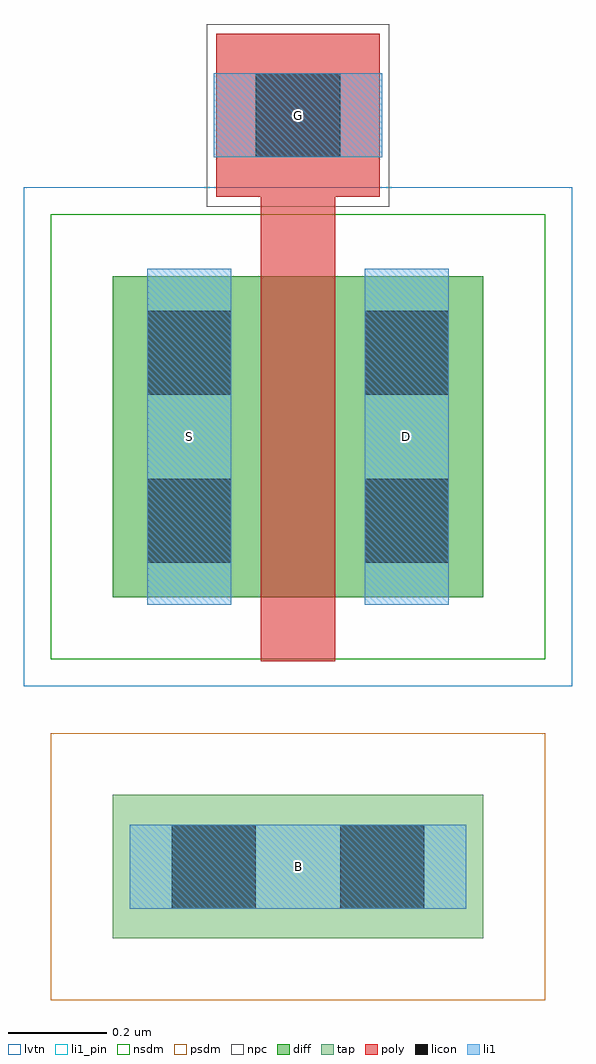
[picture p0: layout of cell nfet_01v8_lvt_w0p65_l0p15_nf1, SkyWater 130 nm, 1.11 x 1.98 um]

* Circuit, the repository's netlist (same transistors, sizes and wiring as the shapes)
.SUBCKT nfet_01v8_lvt_w0p65_l0p15_nf1 D G S B
M0 D G S B nfet_01v8_lvt w=0.65 l=0.15
.ENDS

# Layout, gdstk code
import gdstk
lib = gdstk.Library(unit=1e-6, precision=1e-09)
def R(c, l, rs):  # rectangles x0, y0, x1, y1
    for r in rs: c.add(gdstk.rectangle(r[:2], r[2:], *l))
diff = (65, 20)
tap = (65, 44)
poly = (66, 20)
licon = (66, 44)
li1_pin = (67, 16)
li1 = (67, 20)
nsdm = (93, 44)
psdm = (94, 20)
npc = (95, 20)
lvtn = (125, 44)

nfet_01v8_lvt_w0p65_l0p1 = lib.new_cell('nfet_01v8_lvt_w0p65_l0p15_nf1')
R(nfet_01v8_lvt_w0p65_l0p1, diff, [(0,0,0.75,0.65)])
R(nfet_01v8_lvt_w0p65_l0p1, tap, [(0,-0.69,0.75,-0.4)])
R(nfet_01v8_lvt_w0p65_l0p1, poly, [(0.3,-0.13,0.45,0.81), (0.21,0.81,0.54,1.14)])
R(nfet_01v8_lvt_w0p65_l0p1, licon, [(0.12,-0.63,0.29,-0.46), (0.46,-0.63,0.63,-0.46), (0.07,0.07,0.24,0.24), (0.51,0.07,0.68,0.24), (0.07,0.41,0.24,0.58), (0.51,0.41,0.68,0.58), (0.29,0.89,0.46,1.06)])
R(nfet_01v8_lvt_w0p65_l0p1, li1_pin, [(0.37,-0.55,0.38,-0.54), (0.15,0.32,0.16,0.33), (0.59,0.32,0.6,0.33), (0.37,0.97,0.38,0.98)])
R(nfet_01v8_lvt_w0p65_l0p1, li1, [(0.035,-0.63,0.715,-0.46), (0.07,-0.015,0.24,0.665), (0.51,-0.015,0.68,0.665), (0.205,0.89,0.545,1.06)])
R(nfet_01v8_lvt_w0p65_l0p1, nsdm, [(-0.125,-0.125,0.875,0.775)])
R(nfet_01v8_lvt_w0p65_l0p1, psdm, [(-0.125,-0.815,0.875,-0.275)])
R(nfet_01v8_lvt_w0p65_l0p1, npc, [(0.19,0.79,0.56,1.16)])
R(nfet_01v8_lvt_w0p65_l0p1, lvtn, [(-0.18,-0.18,0.93,0.83)])
nfet_01v8_lvt_w0p65_l0p1.add(gdstk.Label('G', (0.375,0.975), layer=67, texttype=5))
nfet_01v8_lvt_w0p65_l0p1.add(gdstk.Label('B', (0.375,-0.545), layer=67, texttype=5))
nfet_01v8_lvt_w0p65_l0p1.add(gdstk.Label('S', (0.155,0.325), layer=67, texttype=5))
nfet_01v8_lvt_w0p65_l0p1.add(gdstk.Label('D', (0.595,0.325), layer=67, texttype=5))

lib.write_gds('nfet_01v8_lvt_w0p65_l0p15_nf1.gds')
